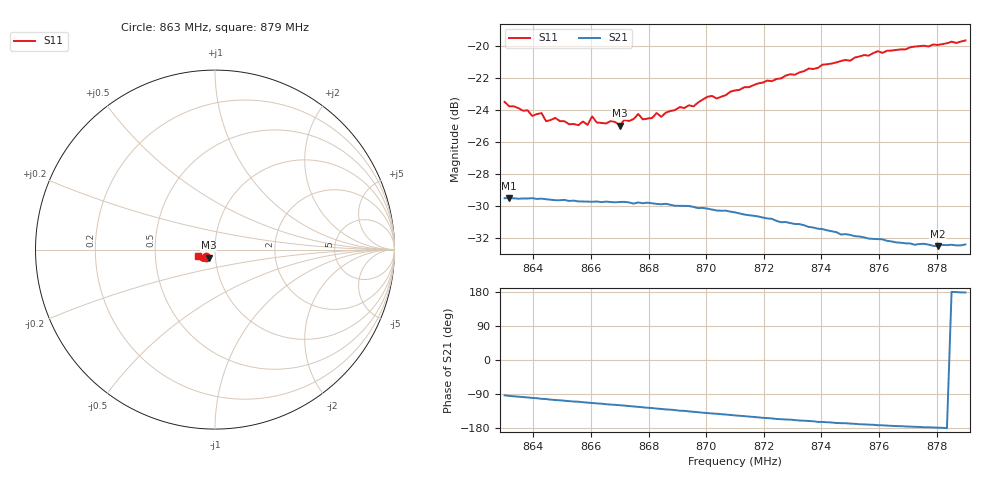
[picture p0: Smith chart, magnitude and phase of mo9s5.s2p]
# HZ S RI R 50
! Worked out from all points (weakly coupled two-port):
!   101 points, 863 MHz to 879 MHz, reference 50 ohm
!   highest |S21| = -29.49 dB at 863.16 MHz (marker M1); lowest = -32.5 dB at 878.04 MHz (marker M2)
!   lowest |S11| = -25.0 dB at 867 MHz (marker M3), VSWR 1.12, Z = 46.5 - j4.18 ohm
!   |S11| at or under -10 dB: start of sweep to end of sweep
!   S12 and S22 are empty: the file has one direction only
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8.63e8  -0.0524 -0.0416  -0.00192 -0.0334  0 0  0 0
8.6316e8  -0.0504 -0.0407  -0.00279 -0.0334  0 0  0 0
8.638e8  -0.0482 -0.0405  -0.00512 -0.033  0 0  0 0
8.6396e8  -0.0455 -0.0398  -0.00585 -0.033  0 0  0 0
8.6428e8  -0.0459 -0.0412  -0.00716 -0.0326  0 0  0 0
8.6444e8  -0.0433 -0.039  -0.00752 -0.0324  0 0  0 0
8.6476e8  -0.045 -0.0391  -0.00891 -0.0318  0 0  0 0
8.6556e8  -0.0393 -0.0407  -0.0113 -0.0307  0 0  0 0
8.6572e8  -0.0394 -0.0427  -0.0119 -0.0304  0 0  0 0
8.6588e8  -0.0388 -0.0413  -0.0125 -0.0302  0 0  0 0
8.6604e8  -0.0419 -0.0433  -0.013 -0.0299  0 0  0 0
8.662e8  -0.0384 -0.043  -0.0135 -0.0298  0 0  0 0
8.67e8  -0.0343 -0.0448  -0.016 -0.0284  0 0  0 0
8.6764e8  -0.0365 -0.0493  -0.018 -0.027  0 0  0 0
8.678e8  -0.0348 -0.0476  -0.0184 -0.0265  0 0  0 0
8.6828e8  -0.035 -0.0509  -0.0199 -0.0253  0 0  0 0
8.6844e8  -0.0342 -0.0494  -0.0203 -0.0248  0 0  0 0
8.71e8  -0.0415 -0.0596  -0.0251 -0.0168  0 0  0 0
8.7372e8  -0.0559 -0.0637  -0.0257 -0.00852  0 0  0 0
8.7644e8  -0.0785 -0.0565  -0.0244 -0.00264  0 0  0 0
8.7804e8  -0.0897 -0.0458  -0.0237 -0.000593  0 0  0 0
8.79e8  -0.0969 -0.0377  -0.024 0.000731  0 0  0 0
